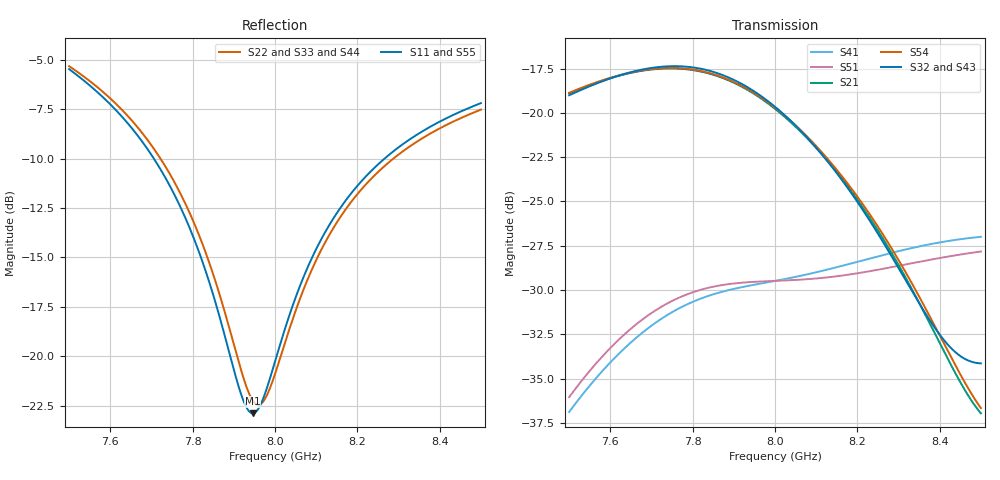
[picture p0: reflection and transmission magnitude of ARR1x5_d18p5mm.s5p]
! Touchstone file exported from HFSS 2025.1.0
!  File:  C:/Users/user/Documents/Ansoft/TFG_UWB-MIMO-Array.aedt
!  Generated:  06:37:36 PM Nov 20, 2026
!  Design:  ARR1x5_P01_MS2_dparam
!  Project:  TFG_UWB-MIMO-Array
!  Setup:  Setup_ch9
!  Solution:  Sweep_7p5_8p5
! Variables:
!  arr_d = 18.5mm
!  board_m = 13mm
!  board_x = 100mm
!  board_y = 26mm
!  cu_t = 0.035mm
!  line_w = 3.92mm
!  pad_xy = 22mm
!  pad_zn = 25mm
!  pad_zp = 33mm
!  patch_L = 7.322mm
!  patch_W = 11.421266mm
!  sub_h = 2.07mm
!  tr_l = 7.1mm
!  tr_w = 0.8mm
# GHz S MA R 50.000000
! Terminal data exported
! Port[1] = P1
! Port[2] = P2
! Port[3] = P3
! Port[4] = P4
! Port[5] = P5
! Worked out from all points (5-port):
!   1001 points, 7.5 GHz to 8.5 GHz, reference 50 ohm
!   strongest paths, dB at 7.5 GHz, 7.75 GHz, 8 GHz, 8.25 GHz, 8.5 GHz:
!     S32: -19.0, -17.4, -19.7, -26.8, -34.1
!     S43: -19.0, -17.4, -19.7, -26.8, -33.9
!     S54: -18.9, -17.5, -19.7, -26.4, -36.7
!     S21: -18.9, -17.5, -19.8, -26.6, -37.0
!     S51: -36.0, -30.6, -29.5, -28.9, -27.8
!     S41: -36.9, -31.2, -29.5, -28.1, -27.0
!   lowest |S11| = -22.9 dB at 7.946 GHz (marker M1), VSWR 1.15, Z = 57.3 + j2.49 ohm
!   |S11| at or under -10 dB: 7.706 GHz to 8.266 GHz (559.8 MHz wide, 7.01 % of centre)
